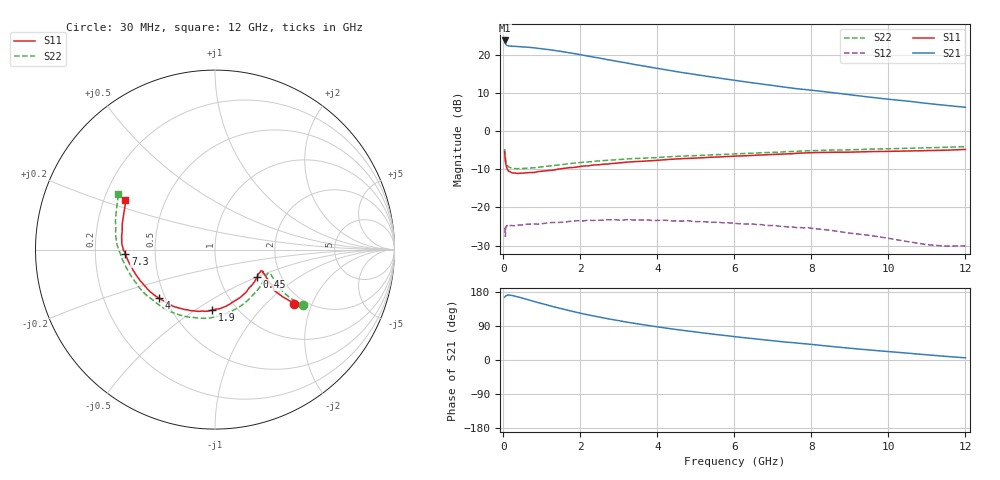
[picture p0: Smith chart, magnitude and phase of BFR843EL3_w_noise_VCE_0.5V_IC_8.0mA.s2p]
! Infineon Technologies  Discrete & RF Semiconductors
! BFR843EL3
! VCE =  0.5 V,  IC =  8.0 mA
! Common Emitter S-Parameters:  Aug 2013
# GHz  S  MA  R  50
!  f  S11  S21  S12  S22
! GHz  MAG  ANG  MAG  ANG  MAG  ANG  MAG  ANG
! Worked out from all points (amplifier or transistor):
!   103 points, 30 MHz to 12 GHz, reference 50 ohm
!   highest |S21| = 23.7 dB at 30 MHz (marker M1)
!   |S21| within 3 dB of that: start of sweep to 1.571 GHz
!   unconditionally stable (mu >= 1): 6.385 GHz to end of sweep
!   at 400 MHz: K = 0.98, MSG = 23.4 dB, |S12| = -24.6 dB
!   at 3.7 GHz: K = 0.76, MSG = 20.1 dB, |S12| = -23.3 dB
!   at 12 GHz: K = 3.13, MAG = 10.3 dB, |S12| = -30.1 dB
!   lowest NFmin = 0.89 dB at 450 MHz
!   S11 on the Smith chart (normalised r, x): 30 MHz: 1.78, -1.50; 450 MHz: 1.52, -0.50; 1.9 GHz: 0.78, -0.59; 4 GHz: 0.46, -0.30; 7.3 GHz: 0.33, -0.02; 12 GHz: 0.29, +0.24
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0.03  0.5345 -34.2  15.32 165.9  0.0522 32.8  0.5805 -32.4
0.04  0.4592 -34.9  14.51 166.9  0.0534 23.0  0.4996 -32.8
0.06  0.3789 -31.8  13.65 169.0  0.0541 22.8  0.417 -30.5
0.1  0.3171 -27.7  13.15 171.1  0.0575 10.1  0.358 -25.8
0.15  0.297 -25.0  12.96 171.4  0.0572 8.9  0.3347 -23.4
0.45  0.2798 -32.8  12.66 164.5  0.0588 4.0  0.3196 -32.3
0.8  0.2859 -48.5  12.25 154.3  0.0606 3.4  0.3293 -49.6
1.2  0.3045 -67.0  11.57 143.3  0.0631 4.1  0.3481 -68.3
1.5  0.3209 -78.6  11 135.5  0.0638 4.1  0.3624 -80.8
1.9  0.3367 -92.6  10.17 125.8  0.0668 3.0  0.3826 -94.7
2.1  0.3486 -98.9  9.758 121.3  0.0665 1.2  0.3902 -101.8
2.6  0.3674 -112.4  8.798 111.0  0.068 -0.5  0.409 -115.2
3  0.3819 -121.3  8.078 103.7  0.0681 -2.6  0.4235 -124.3
3.4  0.3966 -129.4  7.43 96.8  0.068 -4.1  0.4356 -132.5
4  0.4124 -139.2  6.602 87.4  0.0674 -7.2  0.4485 -142.4
4.1  0.4164 -140.6  6.472 86.0  0.0676 -6.3  0.4521 -143.7
5.1  0.4443 -154.5  5.368 72.5  0.0651 -10.9  0.4782 -157.3
6.1  0.4706 -165.6  4.532 60.6  0.0609 -14.3  0.503 -167.9
7.3  0.4995 -177.1  3.75 47.6  0.056 -16.8  0.5333 -178.9
8.5  0.5253 171.9  3.197 35.9  0.05 -21.1  0.5617 170.9
10.5  0.5468 158.4  2.46 18.1  0.0356 -14.5  0.5934 157.8
12  0.573 150.9  2.043 5.7  0.0313 6.6  0.6227 149.9
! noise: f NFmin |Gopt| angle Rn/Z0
0.45  0.89  0.09  34  0.12
0.9  0.9  0.1  48  0.12
1.5  0.92  0.11  60  0.13
1.9  0.94  0.11  65  0.13
2.4  0.96  0.12  79  0.12
3.5  0.99  0.13  96  0.12
5.5  1.05  0.18  132  0.11
8  1.12  0.28  170  0.07
10  1.18  0.4  209  0.06
